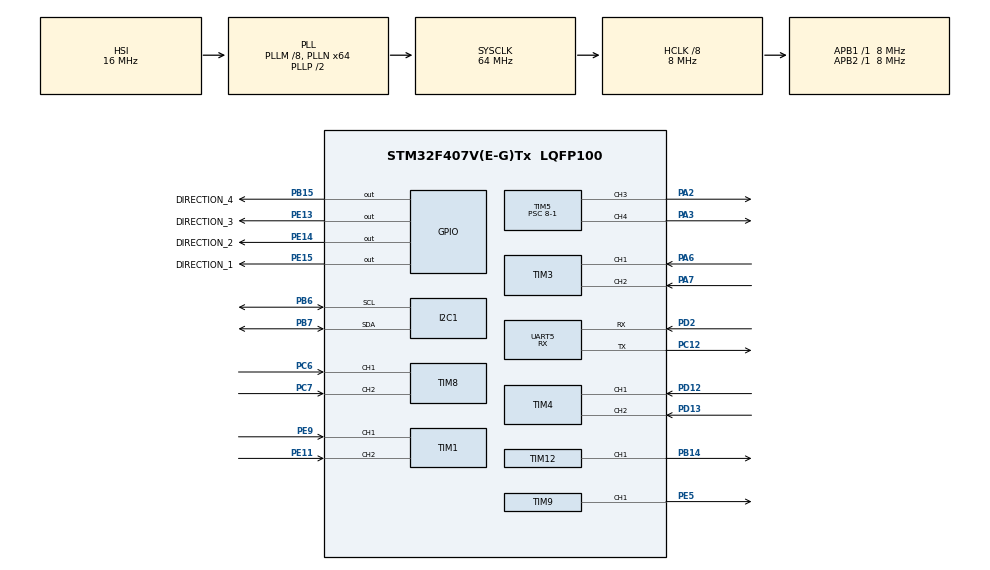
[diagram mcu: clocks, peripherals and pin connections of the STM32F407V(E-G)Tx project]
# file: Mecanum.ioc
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FREERTOS.Queues01=myButtons,200,char,0,Dynamic,NULL,NULL
FREERTOS.Tasks01=CONTROL,8,128,StartControl,Default,NULL,Dynamic,NULL,NULL;PID,24,128,StartPID,Default,NULL,Dynamic,NULL,NULL
I2C1.I2C_Mode=I2C_Fast
Mcu.Family=STM32F4
Mcu.Name=STM32F407V(E-G)Tx
Mcu.Package=LQFP100
NVIC.PriorityGroup=NVIC_PRIORITYGROUP_4
NVIC.TIM1_UP_TIM10_IRQn=true\:15\:0\:false\:false\:true\:false\:false\:true\:true
NVIC.TimeBase=TIM1_UP_TIM10_IRQn
NVIC.TimeBaseIP=TIM10
PA13.Mode=Serial_Wire
PA13.Signal=SYS_JTMS-SWDIO
PA14.Mode=Serial_Wire
PA14.Signal=SYS_JTCK-SWCLK
PA2.Signal=S_TIM5_CH3
PA3.Signal=S_TIM5_CH4
PA6.Signal=S_TIM3_CH1
PA7.Signal=S_TIM3_CH2
PB14.Signal=S_TIM12_CH1
PB15.GPIO_Label=DIRECTION_4
PB15.Signal=GPIO_Output
PB6.Mode=I2C
PB6.Signal=I2C1_SCL
PB7.Mode=I2C
PB7.Signal=I2C1_SDA
PC12.Mode=Asynchronous
PC12.Signal=UART5_TX
PC6.Signal=S_TIM8_CH1
PC7.Signal=S_TIM8_CH2
PD12.Signal=S_TIM4_CH1
PD13.Signal=S_TIM4_CH2
PD2.Mode=Asynchronous
PD2.Signal=UART5_RX
PE11.Signal=S_TIM1_CH2
PE13.GPIO_Label=DIRECTION_3
PE13.Signal=GPIO_Output
PE14.GPIO_Label=DIRECTION_2
PE14.Signal=GPIO_Output
PE15.GPIO_Label=DIRECTION_1
PE15.Signal=GPIO_Output
PE5.Signal=S_TIM9_CH1
PE9.Signal=S_TIM1_CH1
PH0-OSC_IN.Mode=HSE-External-Oscillator
PH0-OSC_IN.Signal=RCC_OSC_IN
PH1-OSC_OUT.Mode=HSE-External-Oscillator
PH1-OSC_OUT.Signal=RCC_OSC_OUT
ProjectManager.HeapSize=0x200
ProjectManager.StackSize=0x400
ProjectManager.TargetToolchain=STM32CubeIDE
RCC.48MHZClocksFreq_Value=32000000
RCC.AHBCLKDivider=RCC_SYSCLK_DIV8
RCC.AHBFreq_Value=8000000
RCC.APB1Freq_Value=8000000
RCC.APB1TimFreq_Value=8000000
RCC.APB2Freq_Value=8000000
RCC.APB2TimFreq_Value=8000000
RCC.CortexFreq_Value=8000000
RCC.HCLKFreq_Value=8000000
RCC.HSE_VALUE=25000000
RCC.HSI_VALUE=16000000
RCC.LSE_VALUE=32768
RCC.PLLM=8
RCC.PLLN=64
RCC.SYSCLKFreq_VALUE=64000000
RCC.SYSCLKSource=RCC_SYSCLKSOURCE_PLLCLK
RCC.VCOOutputFreq_Value=128000000
SH.S_TIM12_CH1.0=TIM12_CH1,PWM Generation1 CH1
SH.S_TIM1_CH1.0=TIM1_CH1,Encoder_Interface
SH.S_TIM1_CH2.0=TIM1_CH2,Encoder_Interface
SH.S_TIM3_CH1.0=TIM3_CH1,Encoder_Interface
SH.S_TIM3_CH2.0=TIM3_CH2,Encoder_Interface
SH.S_TIM4_CH1.0=TIM4_CH1,Encoder_Interface
SH.S_TIM4_CH2.0=TIM4_CH2,Encoder_Interface
SH.S_TIM5_CH3.0=TIM5_CH3,PWM Generation3 CH3
SH.S_TIM5_CH4.0=TIM5_CH4,PWM Generation4 CH4
SH.S_TIM8_CH1.0=TIM8_CH1,Encoder_Interface
SH.S_TIM8_CH2.0=TIM8_CH2,Encoder_Interface
SH.S_TIM9_CH1.0=TIM9_CH1,PWM Generation1 CH1
TIM1.EncoderMode=TIM_ENCODERMODE_TI12
TIM12.Channel-PWM\ Generation1\ CH1=TIM_CHANNEL_1
TIM12.Period=100-1
TIM12.Prescaler=8-1
TIM3.EncoderMode=TIM_ENCODERMODE_TI12
TIM4.EncoderMode=TIM_ENCODERMODE_TI12
TIM5.Channel-PWM\ Generation3\ CH3=TIM_CHANNEL_3
TIM5.Channel-PWM\ Generation4\ CH4=TIM_CHANNEL_4
TIM5.Period=100-1
TIM5.Prescaler=8-1
TIM8.EncoderMode=TIM_ENCODERMODE_TI12
TIM9.Channel-PWM\ Generation1\ CH1=TIM_CHANNEL_1
TIM9.Period=100-1
TIM9.Prescaler=8-1
UART5.Mode=MODE_RX
UART5.VirtualMode=Asynchronous
VP_FREERTOS_VS_CMSIS_V2.Mode=CMSIS_V2
VP_SYS_VS_tim10.Mode=TIM10
VP_TIM12_VS_ClockSourceINT.Mode=Internal
VP_TIM5_VS_ClockSourceINT.Mode=Internal
VP_TIM9_VS_ClockSourceINT.Mode=Internal
board=custom

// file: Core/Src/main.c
/* USER CODE BEGIN Header */
/**
  ******************************************************************************
  * @file           : main.c
  * @brief          : Main program body
  ******************************************************************************
  * @attention
  *
  * Copyright (c) 2024 STMicroelectronics.
  * All rights reserved.
  *
  * This software is licensed under terms that can be found in the LICENSE file
  * in the root directory of this software component.
  * If no LICENSE file comes with this software, it is provided AS-IS.
  *
  ******************************************************************************
  */
/* USER CODE END Header */
#include "main.h"
#include "cmsis_os.h"

I2C_HandleTypeDef hi2c1;

TIM_HandleTypeDef htim1;
TIM_HandleTypeDef htim3;
TIM_HandleTypeDef htim4;
TIM_HandleTypeDef htim5;
TIM_HandleTypeDef htim8;
TIM_HandleTypeDef htim9;
TIM_HandleTypeDef htim12;

UART_HandleTypeDef huart5;

/* Definitions for CONTROL */
osThreadId_t CONTROLHandle;
const osThreadAttr_t CONTROL_attributes = {
  .name = "CONTROL",
  .stack_size = 128 * 4,
  .priority = (osPriority_t) osPriorityLow,
};
/* Definitions for PID */
osThreadId_t PIDHandle;
const osThreadAttr_t PID_attributes = {
  .name = "PID",
  .stack_size = 128 * 4,
  .priority = (osPriority_t) osPriorityNormal,
};
/* Definitions for myButtons */
osMessageQueueId_t myButtonsHandle;
const osMessageQueueAttr_t myButtons_attributes = {
  .name = "myButtons"
};

void SystemClock_Config(void);
static void MX_GPIO_Init(void);
static void MX_TIM1_Init(void);
static void MX_TIM3_Init(void);
static void MX_TIM4_Init(void);
static void MX_TIM5_Init(void);
static void MX_TIM9_Init(void);
static void MX_TIM8_Init(void);
static void MX_TIM12_Init(void);
static void MX_I2C1_Init(void);
static void MX_UART5_Init(void);
void StartControl(void *argument);
void StartPID(void *argument);

/* USER CODE BEGIN 0 */
PID_Param_t pid;
double out_1, out_2, out_3, out_4=0;
double rpm_1, rpm_2, rpm_3, rpm_4=0;
bool flag_Vd=false;
bool flag_Vtheta=false;
double Vd, Vtheta=0;
uint8_t rx_data;

void pid_config(void){
	pid.Kp=0.3;
	pid.Ki=0.2;
	pid.Kd=0.005;
	pid.target_val_1=V1;
	pid.target_val_2=V2;
	pid.target_val_3=V3;
	pid.target_val_4=V4;
	PID_init(&pid);
}

/**---UART6 Interrupt--*/
//void HAL_UART_RxCpltCallback(UART_HandleTypeDef *huart){
//	if(huart->Instance == USART3){
//		HAL_UART_Receive_IT(&huart3, &rx_data, 1);
//	}
//}
//#ifdef __GNUC__
//#define PUTCHAR_PROTOTYPE int __io_putchar(int ch)
//#else
//#define PUTCHAR_PROTOTYPE int fputc(int ch, FILE *f)
//#endif
//
//PUTCHAR_PROTOTYPE
//{
//  HAL_UART_Transmit(&huart2, (uint8_t *)&ch, 1, HAL_MAX_DELAY);
//  return ch;
//}
/* USER CODE END 0 */

int main(void)
{

  /* MCU Configuration--------------------------------------------------------*/

  /* Reset of all peripherals, Initializes the Flash interface and the Systick. */
  HAL_Init();

  /* Configure the system clock */
  SystemClock_Config();

  /* Initialize all configured peripherals */
  MX_GPIO_Init();
  MX_TIM1_Init();
  MX_TIM3_Init();
  MX_TIM4_Init();
  MX_TIM5_Init();
  MX_TIM9_Init();
  MX_TIM8_Init();
  MX_TIM12_Init();
  MX_I2C1_Init();
  MX_UART5_Init();
  /* USER CODE BEGIN 2 */
  PCA9685_Init(&hi2c1);

  	__HAL_TIM_SetCompare(&htim5, TIM_CHANNEL_3, 100); //motor 1
  	__HAL_TIM_SetCompare(&htim5, TIM_CHANNEL_4, 100); //motor 2
  	__HAL_TIM_SetCompare(&htim9, TIM_CHANNEL_1, 100); //motor 3
  	__HAL_TIM_SetCompare(&htim12, TIM_CHANNEL_1, 100); //motor 4

//
//  	HAL_GPIO_WritePin(DIRECTION_1_GPIO_Port, DIRECTION_1_Pin, GPIO_PIN_SET);
//  	HAL_GPIO_WritePin(DIRECTION_2_GPIO_Port, DIRECTION_2_Pin, GPIO_PIN_SET);
//  	HAL_GPIO_WritePin(DIRECTION_3_GPIO_Port, DIRECTION_3_Pin, GPIO_PIN_SET);

    HAL_TIM_PWM_Start(&htim5, TIM_CHANNEL_3);
    HAL_TIM_PWM_Start(&htim5, TIM_CHANNEL_4);
    HAL_TIM_PWM_Start(&htim9, TIM_CHANNEL_1);
    HAL_TIM_PWM_Start(&htim12, TIM_CHANNEL_1);

    HAL_TIM_Encoder_Start(&htim1, TIM_CHANNEL_1 | TIM_CHANNEL_2);
    HAL_TIM_Encoder_Start(&htim3, TIM_CHANNEL_1 | TIM_CHANNEL_2);
    HAL_TIM_Encoder_Start(&htim4, TIM_CHANNEL_1 | TIM_CHANNEL_2);
    HAL_TIM_Encoder_Start(&htim8, TIM_CHANNEL_1 | TIM_CHANNEL_2);

//    UARTStdioConfig(USART2,true);

    __HAL_UART_ENABLE_IT(&huart5, UART_IT_RXNE);

  /* USER CODE END 2 */

  /* Init scheduler */
  osKernelInitialize();

  /* Create the queue(s) */
  /* creation of myButtons */
  myButtonsHandle = osMessageQueueNew (200, sizeof(char), &myButtons_attributes);

  /* Create the thread(s) */
  /* creation of CONTROL */
  CONTROLHandle = osThreadNew(StartControl, NULL, &CONTROL_attributes);

  /* creation of PID */
  PIDHandle = osThreadNew(StartPID, NULL, &PID_attributes);

  /* Start scheduler */
  osKernelStart();

  /* We should never get here as control is now taken by the scheduler */
  /* Infinite loop */
  while (1)
  {

  }
}

void SystemClock_Config(void)
{
  RCC_OscInitTypeDef RCC_OscInitStruct = {0};
  RCC_ClkInitTypeDef RCC_ClkInitStruct = {0};

  /** Configure the main internal regulator output voltage
  */
  __HAL_RCC_PWR_CLK_ENABLE();
  __HAL_PWR_VOLTAGESCALING_CONFIG(PWR_REGULATOR_VOLTAGE_SCALE1);

  /** Initializes the RCC Oscillators according to the specified parameters
  * in the RCC_OscInitTypeDef structure.
  */
  RCC_OscInitStruct.OscillatorType = RCC_OSCILLATORTYPE_HSI;
  RCC_OscInitStruct.HSIState = RCC_HSI_ON;
  RCC_OscInitStruct.HSICalibrationValue = RCC_HSICALIBRATION_DEFAULT;
  RCC_OscInitStruct.PLL.PLLState = RCC_PLL_ON;
  RCC_OscInitStruct.PLL.PLLSource = RCC_PLLSOURCE_HSI;
  RCC_OscInitStruct.PLL.PLLM = 8;
  RCC_OscInitStruct.PLL.PLLN = 64;
  RCC_OscInitStruct.PLL.PLLP = RCC_PLLP_DIV2;
  RCC_OscInitStruct.PLL.PLLQ = 4;
  if (HAL_RCC_OscConfig(&RCC_OscInitStruct) != HAL_OK)
  {
    Error_Handler();
  }

  /** Initializes the CPU, AHB and APB buses clocks
  */
  RCC_ClkInitStruct.ClockType = RCC_CLOCKTYPE_HCLK|RCC_CLOCKTYPE_SYSCLK
                              |RCC_CLOCKTYPE_PCLK1|RCC_CLOCKTYPE_PCLK2;
  RCC_ClkInitStruct.SYSCLKSource = RCC_SYSCLKSOURCE_PLLCLK;
  RCC_ClkInitStruct.AHBCLKDivider = RCC_SYSCLK_DIV8;
  RCC_ClkInitStruct.APB1CLKDivider = RCC_HCLK_DIV1;
  RCC_ClkInitStruct.APB2CLKDivider = RCC_HCLK_DIV1;

  if (HAL_RCC_ClockConfig(&RCC_ClkInitStruct, FLASH_LATENCY_0) != HAL_OK)
  {
    Error_Handler();
  }
}

static void MX_I2C1_Init(void)
{

  hi2c1.Instance = I2C1;
  hi2c1.Init.ClockSpeed = 400000;
  hi2c1.Init.DutyCycle = I2C_DUTYCYCLE_2;
  hi2c1.Init.OwnAddress1 = 0;
  hi2c1.Init.AddressingMode = I2C_ADDRESSINGMODE_7BIT;
  hi2c1.Init.DualAddressMode = I2C_DUALADDRESS_DISABLE;
  hi2c1.Init.OwnAddress2 = 0;
  hi2c1.Init.GeneralCallMode = I2C_GENERALCALL_DISABLE;
  hi2c1.Init.NoStretchMode = I2C_NOSTRETCH_DISABLE;
  if (HAL_I2C_Init(&hi2c1) != HAL_OK)
  {
    Error_Handler();
  }

}

static void MX_TIM1_Init(void)
{

  TIM_Encoder_InitTypeDef sConfig = {0};
  TIM_MasterConfigTypeDef sMasterConfig = {0};

  htim1.Instance = TIM1;
  htim1.Init.Prescaler = 0;
  htim1.Init.CounterMode = TIM_COUNTERMODE_UP;
  htim1.Init.Period = 65535;
  htim1.Init.ClockDivision = TIM_CLOCKDIVISION_DIV1;
  htim1.Init.RepetitionCounter = 0;
  htim1.Init.AutoReloadPreload = TIM_AUTORELOAD_PRELOAD_DISABLE;
  sConfig.EncoderMode = TIM_ENCODERMODE_TI12;
  sConfig.IC1Polarity = TIM_ICPOLARITY_RISING;
  sConfig.IC1Selection = TIM_ICSELECTION_DIRECTTI;
  sConfig.IC1Prescaler = TIM_ICPSC_DIV1;
  sConfig.IC1Filter = 0;
  sConfig.IC2Polarity = TIM_ICPOLARITY_RISING;
  sConfig.IC2Selection = TIM_ICSELECTION_DIRECTTI;
  sConfig.IC2Prescaler = TIM_ICPSC_DIV1;
  sConfig.IC2Filter = 0;
  if (HAL_TIM_Encoder_Init(&htim1, &sConfig) != HAL_OK)
  {
    Error_Handler();
  }
  sMasterConfig.MasterOutputTrigger = TIM_TRGO_RESET;
  sMasterConfig.MasterSlaveMode = TIM_MASTERSLAVEMODE_DISABLE;
  if (HAL_TIMEx_MasterConfigSynchronization(&htim1, &sMasterConfig) != HAL_OK)
  {
    Error_Handler();
  }

}

static void MX_TIM3_Init(void)
{

  TIM_Encoder_InitTypeDef sConfig = {0};
  TIM_MasterConfigTypeDef sMasterConfig = {0};

  htim3.Instance = TIM3;
  htim3.Init.Prescaler = 0;
  htim3.Init.CounterMode = TIM_COUNTERMODE_UP;
  htim3.Init.Period = 65535;
  htim3.Init.ClockDivision = TIM_CLOCKDIVISION_DIV1;
  htim3.Init.AutoReloadPreload = TIM_AUTORELOAD_PRELOAD_DISABLE;
  sConfig.EncoderMode = TIM_ENCODERMODE_TI12;
  sConfig.IC1Polarity = TIM_ICPOLARITY_RISING;
  sConfig.IC1Selection = TIM_ICSELECTION_DIRECTTI;
  sConfig.IC1Prescaler = TIM_ICPSC_DIV1;
  sConfig.IC1Filter = 0;
  sConfig.IC2Polarity = TIM_ICPOLARITY_RISING;
  sConfig.IC2Selection = TIM_ICSELECTION_DIRECTTI;
  sConfig.IC2Prescaler = TIM_ICPSC_DIV1;
  sConfig.IC2Filter = 0;
  if (HAL_TIM_Encoder_Init(&htim3, &sConfig) != HAL_OK)
  {
    Error_Handler();
  }
  sMasterConfig.MasterOutputTrigger = TIM_TRGO_RESET;
  sMasterConfig.MasterSlaveMode = TIM_MASTERSLAVEMODE_DISABLE;
  if (HAL_TIMEx_MasterConfigSynchronization(&htim3, &sMasterConfig) != HAL_OK)
  {
    Error_Handler();
  }

}

static void MX_TIM4_Init(void)
{

  TIM_Encoder_InitTypeDef sConfig = {0};
  TIM_MasterConfigTypeDef sMasterConfig = {0};

  htim4.Instance = TIM4;
  htim4.Init.Prescaler = 0;
  htim4.Init.CounterMode = TIM_COUNTERMODE_UP;
  htim4.Init.Period = 65535;
  htim4.Init.ClockDivision = TIM_CLOCKDIVISION_DIV1;
  htim4.Init.AutoReloadPreload = TIM_AUTORELOAD_PRELOAD_DISABLE;
  sConfig.EncoderMode = TIM_ENCODERMODE_TI12;
  sConfig.IC1Polarity = TIM_ICPOLARITY_RISING;
  sConfig.IC1Selection = TIM_ICSELECTION_DIRECTTI;
  sConfig.IC1Prescaler = TIM_ICPSC_DIV1;
  sConfig.IC1Filter = 0;
  sConfig.IC2Polarity = TIM_ICPOLARITY_RISING;
  sConfig.IC2Selection = TIM_ICSELECTION_DIRECTTI;
  sConfig.IC2Prescaler = TIM_ICPSC_DIV1;
  sConfig.IC2Filter = 0;
  if (HAL_TIM_Encoder_Init(&htim4, &sConfig) != HAL_OK)
  {
    Error_Handler();
  }
  sMasterConfig.MasterOutputTrigger = TIM_TRGO_RESET;
  sMasterConfig.MasterSlaveMode = TIM_MASTERSLAVEMODE_DISABLE;
  if (HAL_TIMEx_MasterConfigSynchronization(&htim4, &sMasterConfig) != HAL_OK)
  {
    Error_Handler();
  }

}

static void MX_TIM5_Init(void)
{

  TIM_ClockConfigTypeDef sClockSourceConfig = {0};
  TIM_MasterConfigTypeDef sMasterConfig = {0};
  TIM_OC_InitTypeDef sConfigOC = {0};

  htim5.Instance = TIM5;
  htim5.Init.Prescaler = 8-1;
  htim5.Init.CounterMode = TIM_COUNTERMODE_UP;
  htim5.Init.Period = 100-1;
  htim5.Init.ClockDivision = TIM_CLOCKDIVISION_DIV1;
  htim5.Init.AutoReloadPreload = TIM_AUTORELOAD_PRELOAD_DISABLE;
  if (HAL_TIM_Base_Init(&htim5) != HAL_OK)
  {
    Error_Handler();
  }
  sClockSourceConfig.ClockSource = TIM_CLOCKSOURCE_INTERNAL;
  if (HAL_TIM_ConfigClockSource(&htim5, &sClockSourceConfig) != HAL_OK)
  {
    Error_Handler();
  }
  if (HAL_TIM_PWM_Init(&htim5) != HAL_OK)
  {
    Error_Handler();
  }
  sMasterConfig.MasterOutputTrigger = TIM_TRGO_RESET;
  sMasterConfig.MasterSlaveMode = TIM_MASTERSLAVEMODE_DISABLE;
  if (HAL_TIMEx_MasterConfigSynchronization(&htim5, &sMasterConfig) != HAL_OK)
  {
    Error_Handler();
  }
  sConfigOC.OCMode = TIM_OCMODE_PWM1;
  sConfigOC.Pulse = 0;
  sConfigOC.OCPolarity = TIM_OCPOLARITY_HIGH;
  sConfigOC.OCFastMode = TIM_OCFAST_DISABLE;
  if (HAL_TIM_PWM_ConfigChannel(&htim5, &sConfigOC, TIM_CHANNEL_3) != HAL_OK)
  {
    Error_Handler();
  }
  if (HAL_TIM_PWM_ConfigChannel(&htim5, &sConfigOC, TIM_CHANNEL_4) != HAL_OK)
  {
    Error_Handler();
  }
  HAL_TIM_MspPostInit(&htim5);

}

static void MX_TIM8_Init(void)
{

  TIM_Encoder_InitTypeDef sConfig = {0};
  TIM_MasterConfigTypeDef sMasterConfig = {0};

  htim8.Instance = TIM8;
  htim8.Init.Prescaler = 0;
  htim8.Init.CounterMode = TIM_COUNTERMODE_UP;
  htim8.Init.Period = 65535;
  htim8.Init.ClockDivision = TIM_CLOCKDIVISION_DIV1;
  htim8.Init.RepetitionCounter = 0;
  htim8.Init.AutoReloadPreload = TIM_AUTORELOAD_PRELOAD_DISABLE;
  sConfig.EncoderMode = TIM_ENCODERMODE_TI12;
  sConfig.IC1Polarity = TIM_ICPOLARITY_RISING;
  sConfig.IC1Selection = TIM_ICSELECTION_DIRECTTI;
  sConfig.IC1Prescaler = TIM_ICPSC_DIV1;
  sConfig.IC1Filter = 0;
  sConfig.IC2Polarity = TIM_ICPOLARITY_RISING;
  sConfig.IC2Selection = TIM_ICSELECTION_DIRECTTI;
  sConfig.IC2Prescaler = TIM_ICPSC_DIV1;
  sConfig.IC2Filter = 0;
  if (HAL_TIM_Encoder_Init(&htim8, &sConfig) != HAL_OK)
  {
    Error_Handler();
  }
  sMasterConfig.MasterOutputTrigger = TIM_TRGO_RESET;
  sMasterConfig.MasterSlaveMode = TIM_MASTERSLAVEMODE_DISABLE;
  if (HAL_TIMEx_MasterConfigSynchronization(&htim8, &sMasterConfig) != HAL_OK)
  {
    Error_Handler();
  }

}

static void MX_TIM9_Init(void)
{

  TIM_ClockConfigTypeDef sClockSourceConfig = {0};
  TIM_OC_InitTypeDef sConfigOC = {0};

  htim9.Instance = TIM9;
  htim9.Init.Prescaler = 8-1;
  htim9.Init.CounterMode = TIM_COUNTERMODE_UP;
  htim9.Init.Period = 100-1;
  htim9.Init.ClockDivision = TIM_CLOCKDIVISION_DIV1;
  htim9.Init.AutoReloadPreload = TIM_AUTORELOAD_PRELOAD_DISABLE;
  if (HAL_TIM_Base_Init(&htim9) != HAL_OK)
  {
    Error_Handler();
  }
  sClockSourceConfig.ClockSource = TIM_CLOCKSOURCE_INTERNAL;
  if (HAL_TIM_ConfigClockSource(&htim9, &sClockSourceConfig) != HAL_OK)
  {
    Error_Handler();
  }
  if (HAL_TIM_PWM_Init(&htim9) != HAL_OK)
  {
    Error_Handler();
  }
  sConfigOC.OCMode = TIM_OCMODE_PWM1;
  sConfigOC.Pulse = 0;
  sConfigOC.OCPolarity = TIM_OCPOLARITY_HIGH;
  sConfigOC.OCFastMode = TIM_OCFAST_DISABLE;
  if (HAL_TIM_PWM_ConfigChannel(&htim9, &sConfigOC, TIM_CHANNEL_1) != HAL_OK)
  {
    Error_Handler();
  }
  HAL_TIM_MspPostInit(&htim9);

}

static void MX_TIM12_Init(void)
{

  TIM_ClockConfigTypeDef sClockSourceConfig = {0};
  TIM_OC_InitTypeDef sConfigOC = {0};

  htim12.Instance = TIM12;
  htim12.Init.Prescaler = 8-1;
  htim12.Init.CounterMode = TIM_COUNTERMODE_UP;
  htim12.Init.Period = 100-1;
  htim12.Init.ClockDivision = TIM_CLOCKDIVISION_DIV1;
  htim12.Init.AutoReloadPreload = TIM_AUTORELOAD_PRELOAD_DISABLE;
  if (HAL_TIM_Base_Init(&htim12) != HAL_OK)
  {
    Error_Handler();
  }
  sClockSourceConfig.ClockSource = TIM_CLOCKSOURCE_INTERNAL;
  if (HAL_TIM_ConfigClockSource(&htim12, &sClockSourceConfig) != HAL_OK)
  {
    Error_Handler();
  }
  if (HAL_TIM_PWM_Init(&htim12) != HAL_OK)
  {
    Error_Handler();
  }
  sConfigOC.OCMode = TIM_OCMODE_PWM1;
  sConfigOC.Pulse = 0;
  sConfigOC.OCPolarity = TIM_OCPOLARITY_HIGH;
  sConfigOC.OCFastMode = TIM_OCFAST_DISABLE;
  if (HAL_TIM_PWM_ConfigChannel(&htim12, &sConfigOC, TIM_CHANNEL_1) != HAL_OK)
  {
    Error_Handler();
  }
  HAL_TIM_MspPostInit(&htim12);

}

static void MX_UART5_Init(void)
{

  huart5.Instance = UART5;
  huart5.Init.BaudRate = 115200;
  huart5.Init.WordLength = UART_WORDLENGTH_8B;
  huart5.Init.StopBits = UART_STOPBITS_1;
  huart5.Init.Parity = UART_PARITY_NONE;
  huart5.Init.Mode = UART_MODE_RX;
  huart5.Init.HwFlowCtl = UART_HWCONTROL_NONE;
  huart5.Init.OverSampling = UART_OVERSAMPLING_16;
  if (HAL_UART_Init(&huart5) != HAL_OK)
  {
    Error_Handler();
  }

}

static void MX_GPIO_Init(void)
{
  GPIO_InitTypeDef GPIO_InitStruct = {0};

  /* GPIO Ports Clock Enable */
  __HAL_RCC_GPIOE_CLK_ENABLE();
  __HAL_RCC_GPIOH_CLK_ENABLE();
  __HAL_RCC_GPIOA_CLK_ENABLE();
  __HAL_RCC_GPIOB_CLK_ENABLE();
  __HAL_RCC_GPIOD_CLK_ENABLE();
  __HAL_RCC_GPIOC_CLK_ENABLE();

  /*Configure GPIO pin Output Level */
  HAL_GPIO_WritePin(GPIOE, DIRECTION_3_Pin|DIRECTION_2_Pin|DIRECTION_1_Pin, GPIO_PIN_RESET);

  /*Configure GPIO pin Output Level */
  HAL_GPIO_WritePin(DIRECTION_4_GPIO_Port, DIRECTION_4_Pin, GPIO_PIN_RESET);

  /*Configure GPIO pins : DIRECTION_3_Pin DIRECTION_2_Pin DIRECTION_1_Pin */
  GPIO_InitStruct.Pin = DIRECTION_3_Pin|DIRECTION_2_Pin|DIRECTION_1_Pin;
  GPIO_InitStruct.Mode = GPIO_MODE_OUTPUT_PP;
  GPIO_InitStruct.Pull = GPIO_NOPULL;
  GPIO_InitStruct.Speed = GPIO_SPEED_FREQ_LOW;
  HAL_GPIO_Init(GPIOE, &GPIO_InitStruct);

  /*Configure GPIO pin : DIRECTION_4_Pin */
  GPIO_InitStruct.Pin = DIRECTION_4_Pin;
  GPIO_InitStruct.Mode = GPIO_MODE_OUTPUT_PP;
  GPIO_InitStruct.Pull = GPIO_NOPULL;
  GPIO_InitStruct.Speed = GPIO_SPEED_FREQ_LOW;
  HAL_GPIO_Init(DIRECTION_4_GPIO_Port, &GPIO_InitStruct);

}

/* USER CODE BEGIN 4 */
void Control(msgQueueObj_t msg, double Vd, double Vtheta){
	switch(msg.buffer[0]){
	case 'W':
		Robot_Move(Vd, 0, 0);
		break;
	case 'B':
		Robot_Move(Vd, 180, 0);
		break;
	case 'R':
		Robot_Move(Vd, 90, 0);
		break;
	case 'L':
		Robot_Move(Vd, 270, 0);
		break;
	case 'H':
		Robot_Move(Vd, 45, 0);
		break;
	case 'Q':
		Robot_Move(Vd, 315, 0);
		break;
	case 'Z':
		Robot_Move(Vd, 225, 0);
		break;
	case 'V':
		Robot_Move(Vd, 135, 0);
		break;
	case 'X':
		Robot_Move(0, 0, 0.3);
		break;
	case 'Y':
		Robot_Move(0, 0, -0.3);
		break;
	case 'S':
		Robot_Move(0, 0, 0);
		break;
	case 'J':
		flag_Vd=true;
		break;
	case 'K':
		flag_Vtheta=true;
		break;
	default:
		break;
	}
}
/* USER CODE END 4 */

void StartControl(void *argument)
{
  /* USER CODE BEGIN 5 */
	msgQueueObj_t msg;
	osStatus_t status;
	int Vd_msg, Vtheta_msg=0;

  /* Infinite loop */
  for(;;)
  {
	  status = osMessageQueueGet(myButtonsHandle, &msg, NULL, 0);   // wait for message
	  if (status == osOK) {
//		UARTprintf("msg is: %c \r\n", msg.buffer[0]); // process data
		if(isdigit((int)msg.buffer[0])){
		  if(flag_Vd){
			  Vd_msg=(int)(msg.buffer[0]-'0');
			  flag_Vd=false;
			  Vd=(double)Vd_msg/(double)3;

//				if(Vd>0&&Vd<1){
//					UARTprintf("true Vd \r\n");
//				}else UARTprintf("false Vd \r\n");
		  }
		  if(flag_Vtheta){
			  Vtheta_msg=(int)(msg.buffer[0]-'0');
			  flag_Vtheta=false;
			  Vtheta=(double)Vtheta_msg/(double)3;
//				if(Vtheta>0&&Vtheta<1){
//					UARTprintf("true Vtheta \r\n");
//				}else UARTprintf("false Vtheta \r\n");
		  }
		}

//		UARTprintf("Vtheta double: %d \r\n",(uint8_t)Vtheta);

		Control(msg, Vd, Vtheta);

	  }
    osDelay(50);
  }
  /* USER CODE END 5 */
}

void StartPID(void *argument)
{
  /* USER CODE BEGIN StartPID */
  /* Infinite loop */
  for(;;)
  {
	  PID();
//	  UARTprintf("task2\r\n");

    osDelay(10);
  }
  /* USER CODE END StartPID */
}

void HAL_TIM_PeriodElapsedCallback(TIM_HandleTypeDef *htim)
{
  if (htim->Instance == TIM10) {
    HAL_IncTick();
  }
}

void Error_Handler(void)
{
  __disable_irq();
  while (1)
  {
  }
}
